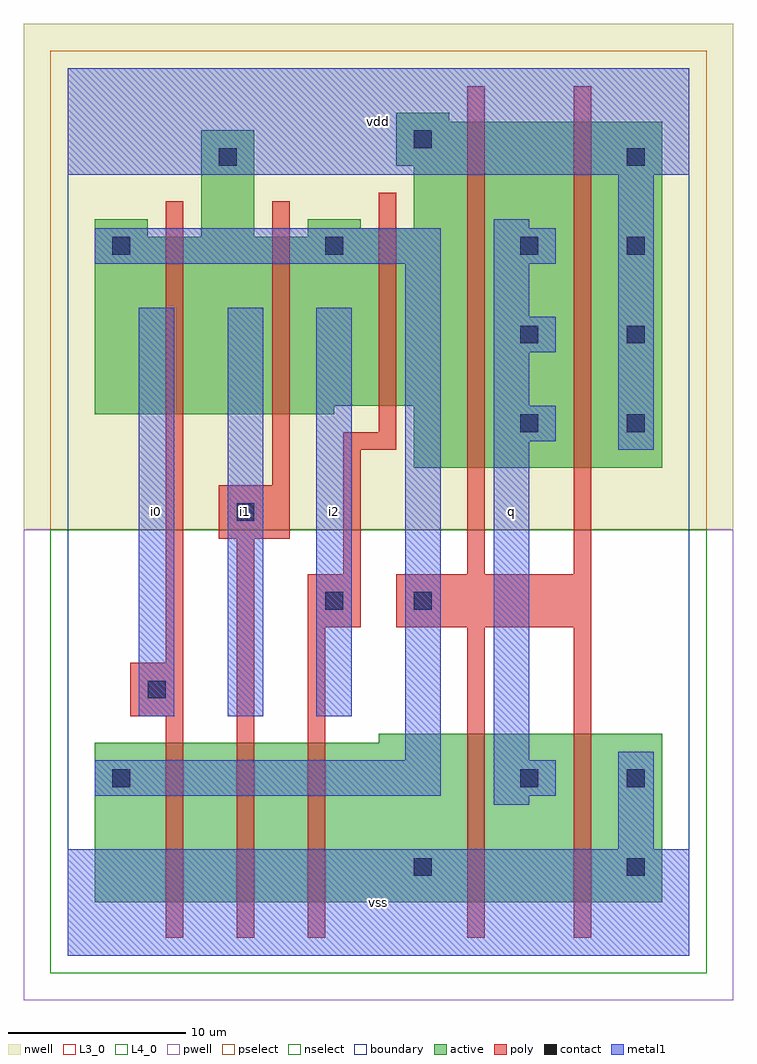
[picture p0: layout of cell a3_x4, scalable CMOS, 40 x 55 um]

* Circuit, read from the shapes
.subckt a3_x4 i0 i1 i2 q vdd vss
M1 n1 i0 n2 VSUBS nfet w=9u l=1u
M2 n3 i1 n1 VSUBS nfet w=9u l=1u
M3 vss i2 n3 VSUBS nfet w=9u l=1u
M4 q n2 vss VSUBS nfet w=9.5u l=1u m=2
M5 vdd i0 n2 n4 pfet w=10u l=1u
M6 n2 i1 vdd n4 pfet w=10u l=1u
M7 vdd i2 n2 n4 pfet w=10u l=1u
M8 q n2 vdd n4 pfet w=19.5u l=1u m=2
.ends

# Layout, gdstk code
import gdstk
lib = gdstk.Library(unit=1e-6, precision=1e-09)
def R(c, l, rs):  # rectangles x0, y0, x1, y1
    for r in rs: c.add(gdstk.rectangle(r[:2], r[2:], *l))
def A(c, l, x, y, w, h, nx, ny, dx, dy):  # array of equal rectangles
    R(c, l, [(x+i*dx, y+j*dy, x+i*dx+w, y+j*dy+h) for i in range(nx) for j in range(ny)])
L3_0 = (3, 0)
L4_0 = (4, 0)
contact = (25, 0)
pwell = (41, 0)
nwell = (42, 0)
active = (43, 0)
pselect = (44, 0)
nselect = (45, 0)
poly = (46, 0)
metal1 = (49, 0)
boundary = (63, 0)

a3_x4 = lib.new_cell('a3_x4')
R(a3_x4, L3_0, [(1.5,3,33.5,12), (17.5,12,33.5,12.5)])
R(a3_x4, L4_0, [(19.5,27.5,33.5,31), (1.5,30.5,15,31), (1.5,31,33.5,40.5), (1.5,40.5,4.5,41.5), (7.5,40.5,10.5,46.5), (13.5,40.5,33.5,41), (13.5,41,16.5,41.5), (19.5,41,33.5,44.5), (18.5,44.5,33.5,47), (18.5,47,21.5,47.5)])
A(a3_x4, contact, 25.5, 29.5, 1, 1, 1, 3, 0, 5)
A(a3_x4, contact, 31.5, 29.5, 1, 1, 1, 4, 0, 5)
R(a3_x4, contact, [(19.5,4.5,20.5,5.5), (31.5,4.5,32.5,5.5), (2.5,9.5,3.5,10.5), (25.5,9.5,26.5,10.5), (31.5,9.5,32.5,10.5), (4.5,14.5,5.5,15.5), (14.5,19.5,15.5,20.5), (19.5,19.5,20.5,20.5), (9.5,24.5,10.5,25.5), (2.5,39.5,3.5,40.5), (14.5,39.5,15.5,40.5), (8.5,44.5,9.5,45.5), (19.5,45.5,20.5,46.5)])
R(a3_x4, pwell, [(-2.5,-2.5,37.5,24)])
R(a3_x4, nwell, [(-2.5,24,37.5,52.5)])
R(a3_x4, active, [(1.5,3,33.5,12), (17.5,12,33.5,12.5), (19.5,27.5,33.5,31), (1.5,30.5,15,31), (1.5,31,33.5,40.5), (1.5,40.5,4.5,41.5), (7.5,40.5,10.5,46.5), (13.5,40.5,33.5,41), (13.5,41,16.5,41.5), (19.5,41,33.5,44.5), (18.5,44.5,33.5,47), (18.5,47,21.5,47.5)])
R(a3_x4, pselect, [(-1,24,36,51)])
R(a3_x4, nselect, [(-1,-1,36,24)])
R(a3_x4, poly, [(5.5,1,6.5,13.5), (9.5,1,10.5,23.5), (13.5,1,14.5,18.5), (22.5,1,23.5,18.5), (28.5,1,29.5,18.5), (3.5,13.5,6.5,16.5), (5.5,16.5,6.5,42.5), (13.5,18.5,16.5,21.5), (18.5,18.5,29.5,21.5), (15.5,21.5,16.5,28.5), (22.5,21.5,23.5,49), (28.5,21.5,29.5,49), (8.5,23.5,12.5,26.5), (11.5,26.5,12.5,42.5), (15.5,28.5,18.5,29.5), (17.5,29.5,18.5,43)])
R(a3_x4, metal1, [(0,0,35,6), (0,0,35,6), (31,6,33,11.5), (31,6,33,11.5), (24,8.5,26,9), (24,8.5,26,9), (1.5,9,21,11), (1.5,9,21,11), (24,9,27.5,11), (24,9,27.5,11), (19,11,21,39), (19,11,21,39), (24,11,26,29), (24,11,26,29), (4,13.5,6,36.5), (4,13.5,6,36.5), (9,13.5,11,36.5), (9,13.5,11,36.5), (14,13.5,16,36.5), (14,13.5,16,36.5), (31,28.5,33,44), (31,28.5,33,44), (24,29,27.5,31), (24,29,27.5,31), (24,31,26,34), (24,31,26,34), (24,34,27.5,36), (24,34,27.5,36), (24,36,26,39), (24,36,26,39), (1.5,39,21,41), (1.5,39,21,41), (24,39,27.5,41), (24,39,27.5,41), (24,41,26,41.5), (24,41,26,41.5), (0,44,35,50), (0,44,35,50)])
R(a3_x4, boundary, [(0,0,35,50)])
a3_x4.add(gdstk.Label('i0', (5,25), layer=49, texttype=0))
a3_x4.add(gdstk.Label('i2', (15,25), layer=49, texttype=0))
a3_x4.add(gdstk.Label('i1', (10,25), layer=49, texttype=0))
a3_x4.add(gdstk.Label('vss', (17.5,3), layer=49, texttype=0))
a3_x4.add(gdstk.Label('q', (25,25), layer=49, texttype=0))
a3_x4.add(gdstk.Label('vdd', (17.5,47), layer=49, texttype=0))

lib.write_gds('a3_x4.gds')
